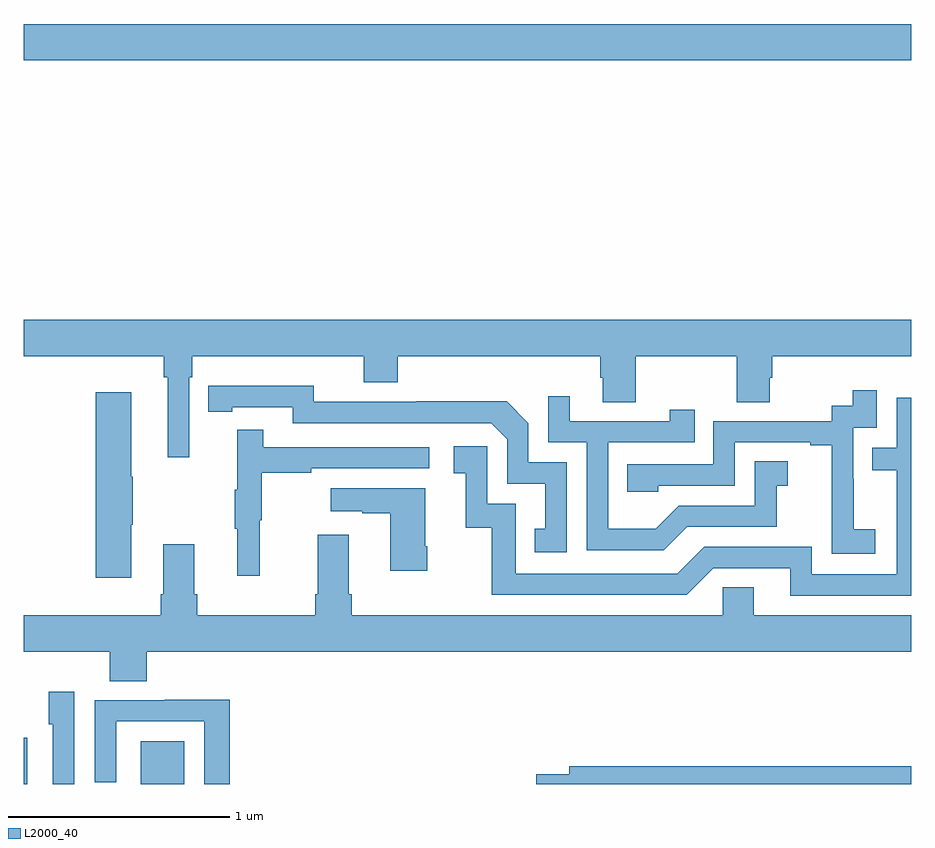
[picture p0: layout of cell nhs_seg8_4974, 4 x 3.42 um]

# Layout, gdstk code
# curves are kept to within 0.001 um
import gdstk
lib = gdstk.Library(unit=1e-6, precision=1e-09)
def R(c, l, rs):  # rectangles x0, y0, x1, y1
    for r in rs: c.add(gdstk.rectangle(r[:2], r[2:], *l))
def P(c, l, *ps):  # polygons
    for p in ps: c.add(gdstk.Polygon(p, *l))
L2000_40 = (2000, 40)

nhs_seg8_4974 = lib.new_cell('nhs_seg8_4974')
R(nhs_seg8_4974, L2000_40, [(411,1119.9,411.016,1120.109), (411.527,1119.9,411.724,1120.093), (411,1123.16,415,1123.324)])
P(nhs_seg8_4974, L2000_40, [(411.747,1121.732),(411.761,1121.732),(411.761,1121.828),(412.532,1121.828),(412.532,1121.711),(412.685,1121.711),(412.685,1121.828),(413.597,1121.828),(413.597,1121.73),(413.609,1121.73),(413.609,1121.62),(413.757,1121.62),(413.757,1121.828),(414.214,1121.828),(414.214,1121.62),(414.361,1121.62),(414.361,1121.73),(414.374,1121.73),(414.374,1121.828),(415,1121.828),(415,1121.992),(411,1121.992),(411,1121.828),(411.631,1121.828),(411.631,1121.732),(411.65,1121.732),(411.65,1121.373),(411.747,1121.373)],
  [(413.448,1121.349),(413.274,1121.349),(413.274,1121.526),(413.176,1121.624),(412.768,1121.624),(412.768,1121.622),(412.308,1121.622),(412.308,1121.695),(411.832,1121.694),(411.832,1121.578),(411.94,1121.578),(411.94,1121.598),(412.212,1121.598),(412.212,1121.526),(413.106,1121.526),(413.178,1121.454),(413.178,1121.253),(413.351,1121.253),(413.351,1121.049),(413.302,1121.049),(413.302,1120.944),(413.448,1120.944)],
  [(414.838,1121.047),(414.74,1121.047),(414.74,1121.276),(414.738,1121.276),(414.738,1121.505),(414.843,1121.505),(414.843,1121.674),(414.735,1121.674),(414.735,1121.604),(414.642,1121.604),(414.642,1121.535),(414.108,1121.535),(414.108,1121.34),(413.719,1121.34),(413.719,1121.217),(413.859,1121.217),(413.859,1121.244),(414.204,1121.244),(414.204,1121.439),(414.545,1121.439),(414.545,1121.427),(414.641,1121.427),(414.641,1121.143),(414.64,1121.143),(414.64,1120.937),(414.838,1120.937)],
  [(411.484,1121.068),(411.492,1121.068),(411.492,1121.285),(411.484,1121.285),(411.484,1121.665),(411.326,1121.665),(411.326,1120.83),(411.484,1120.83)],
  [(413.989,1121.058),(414.393,1121.058),(414.393,1121.243),(414.442,1121.243),(414.442,1121.353),(414.294,1121.353),(414.294,1121.154),(413.952,1121.154),(413.848,1121.05),(413.634,1121.05),(413.634,1121.439),(414.023,1121.439),(414.023,1121.587),(413.912,1121.587),(413.912,1121.535),(413.461,1121.535),(413.461,1121.647),(413.364,1121.647),(413.364,1121.439),(413.538,1121.439),(413.538,1120.953),(413.884,1120.953)],
  [(415,1121.64),(414.933,1121.64),(414.933,1121.415),(414.823,1121.415),(414.823,1121.314),(414.933,1121.314),(414.933,1120.845),(414.552,1120.845),(414.552,1120.968),(414.066,1120.968),(413.946,1120.848),(413.217,1120.848),(413.217,1121.163),(413.088,1121.163),(413.088,1121.422),(412.938,1121.422),(412.938,1121.301),(412.991,1121.301),(412.991,1121.055),(413.109,1121.055),(413.109,1120.752),(413.988,1120.752),(414.108,1120.872),(414.455,1120.872),(414.455,1120.749),(415,1120.749)],
  [(412.064,1121.088),(412.072,1121.088),(412.072,1121.302),(412.295,1121.302),(412.295,1121.322),(412.828,1121.322),(412.828,1121.418),(412.079,1121.418),(412.079,1121.497),(411.962,1121.497),(411.962,1121.225),(411.951,1121.225),(411.951,1121.051),(411.962,1121.051),(411.962,1120.839),(412.064,1120.839)],
  [(412.818,1120.972),(412.81,1120.972),(412.81,1121.233),(412.383,1121.233),(412.383,1121.129),(412.526,1121.129),(412.526,1121.119),(412.652,1121.119),(412.652,1120.86),(412.818,1120.86)],
  [(411.554,1120.496),(415,1120.496),(415,1120.66),(414.289,1120.66),(414.289,1120.787),(414.15,1120.787),(414.15,1120.66),(412.478,1120.66),(412.478,1120.756),(412.465,1120.756),(412.465,1121.023),(412.325,1121.023),(412.325,1120.756),(412.313,1120.756),(412.313,1120.66),(411.782,1120.66),(411.782,1120.756),(411.769,1120.756),(411.769,1120.981),(411.629,1120.981),(411.629,1120.756),(411.617,1120.756),(411.617,1120.66),(411,1120.66),(411,1120.496),(411.389,1120.496),(411.389,1120.363),(411.554,1120.363)],
  [(411.228,1120.315),(411.113,1120.315),(411.113,1120.17),(411.132,1120.17),(411.132,1119.9),(411.228,1119.9)],
  [(411.929,1120.28),(411.637,1120.28),(411.637,1120.278),(411.321,1120.278),(411.321,1119.909),(411.417,1119.909),(411.417,1120.182),(411.813,1120.182),(411.813,1119.9),(411.929,1119.9)],
  [(415,1119.98),(413.459,1119.98),(413.459,1119.944),(413.31,1119.944),(413.31,1119.9),(415,1119.9)])

lib.write_gds('nhs_seg8_4974.gds')
